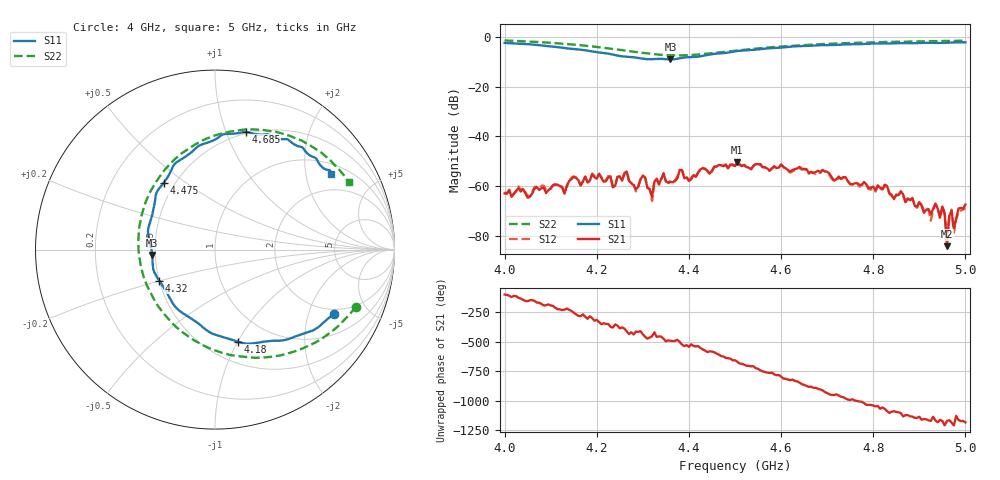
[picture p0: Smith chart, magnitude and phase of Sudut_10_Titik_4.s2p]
# Hz S RI R 50
! CMT, C1220, 16058040, 17.2.0/1
! Date: 15/08/2018 12:26:52
! Data: Format (Calibration Info)
! Freq  S11: Re/Im (F2)  S21: Re/Im (F2)  S12: Re/Im (F2)  S22: Re/Im (F2)
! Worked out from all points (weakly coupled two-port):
!   201 points, 4 GHz to 5 GHz, reference 50 ohm
!   highest |S21| = -50.39 dB at 4.505 GHz (marker M1); lowest = -84.2 dB at 4.96 GHz (marker M2)
!   lowest |S11| = -9.1 dB at 4.36 GHz (marker M3), VSWR 2.08, Z = 24.1 - j1.67 ohm
!   |S11| at or under -10 dB: nowhere
!   |S22| runs from -7.5 to -1.5 dB; largest |S21 - S12| = 0.00016
!   S11 on the Smith chart (normalised r, x): 4 GHz: 1.78, -2.97; 4.18 GHz: 0.70, -1.00; 4.32 GHz: 0.50, -0.20; 4.475 GHz: 0.44, +0.41; 4.685 GHz: 0.48, +1.18; 5 GHz: 1.34, +2.80
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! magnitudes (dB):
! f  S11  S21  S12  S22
! 4 GHz  -2.4  -63.0  -62.6  -1.5
! 4.17 GHz  -5.3  -58.2  -58.1  -3.5
! 4.18 GHz  -5.6  -58.6  -58.4  -3.6
! 4.265 GHz  -8.0  -54.2  -54.1  -5.6
! 4.285 GHz  -8.3  -61.3  -62.2  -6.1
! 4.3 GHz  -8.8  -55.9  -55.8  -6.5
! 4.32 GHz  -9.0  -64.6  -66.0  -6.9
! 4.325 GHz  -8.9  -58.3  -58.3  -7.0
! 4.335 GHz  -8.9  -59.2  -59.5  -7.2
! 4.36 GHz  -9.1  -58.4  -58.1  -7.4
! 4.475 GHz  -6.6  -51.9  -52.1  -6.1
! 4.5 GHz  -5.9  -51.9  -52.0  -5.6
! 4.505 GHz  -5.7  -50.4  -50.5  -5.5
! 4.67 GHz  -3.5  -54.7  -54.8  -3.1
! 4.685 GHz  -3.4  -54.4  -54.8  -3.0
! 4.835 GHz  -2.7  -62.8  -63.1  -2.0
! 4.925 GHz  -2.4  -71.3  -73.9  -1.7
! 4.95 GHz  -2.4  -68.3  -67.9  -1.7
! 4.96 GHz  -2.3  -84.2  -79.9  -1.6
! 4.97 GHz  -2.2  -70.1  -69.5  -1.6
! 4.975 GHz  -2.2  -77.1  -78.8  -1.6
! 5 GHz  -2.2  -67.5  -68.9  -1.6
